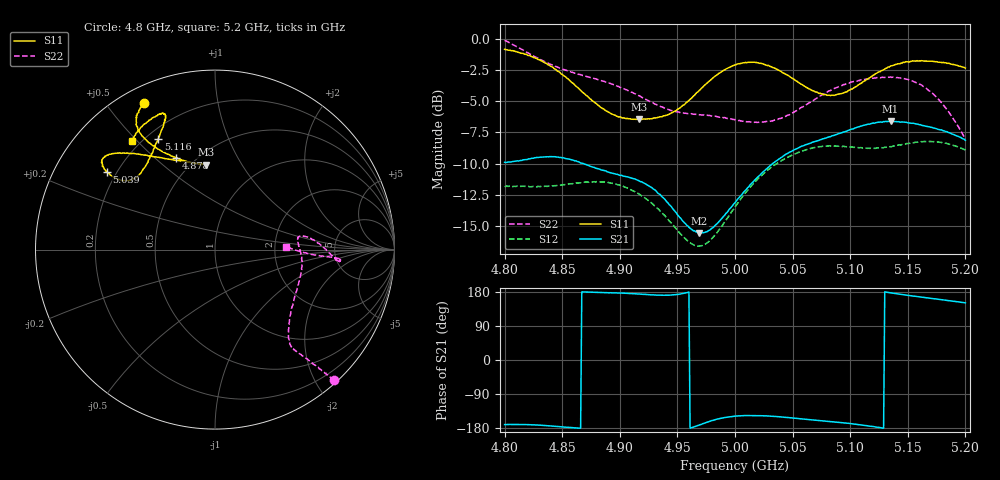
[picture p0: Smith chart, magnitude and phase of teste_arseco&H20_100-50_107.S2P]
! Network Analyzer HP8722D
! Hewlett-Packard
! Data name: Linha & Wilkinson
! Saver's name: Rodrigo Anjos
! Comments: Teste da utilização de aquisição
! continua pelo VNA HP8722D
! Time and date: 6/5/2025 13:27
!  Frequency  S11  S21  S12  S22
# HZ  S  MA R 50
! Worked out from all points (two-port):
!   401 points, 4.8 GHz to 5.2 GHz, reference 50 ohm
!   highest |S21| = -6.60 dB at 5.135 GHz (marker M1); lowest = -15.5 dB at 4.969 GHz (marker M2)
!   |S21| within 3 dB of the highest: 4.822 GHz to 4.854 GHz (31.63 MHz wide, 0.654 % of centre); 5.039 GHz to end of sweep
!   lowest |S11| = -6.5 dB at 4.917 GHz (marker M3), VSWR 2.81, Z = 29.1 + j35.6 ohm
!   |S11| at or under -10 dB: nowhere
!   |S22| runs from -8.0 to -0.1 dB; largest |S21 - S12| = 0.83
!   S11 on the Smith chart (normalised r, x): 4.8 GHz: 0.07, +0.62; 4.878 GHz: 0.40, +0.59; 5.039 GHz: 0.16, +0.31; 5.116 GHz: 0.25, +0.59; 5.2 GHz: 0.17, +0.48
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4.8e9  0.9061 115.9  0.3204 -170.4  0.2569 -86.2  0.9835 -47.6
4.832e9  0.8152 122.4  0.3359 -172.3  0.256 -77.6  0.8215 -49.5
4.846e9  0.7409 122.5  0.3362 -175.4  0.2589 -73.0  0.7684 -50.5
4.867e9  0.6143 117.9  0.3179 179.8  0.2655 -67.4  0.7154 -51.5
4.878e9  0.557 112.9  0.3054 178.5  0.2679 -66.1  0.6927 -51.9
4.899e9  0.4863 101.7  0.2853 176.6  0.2605 -66.7  0.6434 -50.3
4.917e9  0.4751 96.2  0.2697 174.2  0.2388 -68.5  0.5912 -45.8
4.934e9  0.4854 99.2  0.2394 171.0  0.2073 -69.5  0.5384 -37.6
4.947e9  0.5115 107.1  0.2062 171.9  0.1781 -67.0  0.5136 -28.9
4.969e9  0.6209 123.5  0.1671 -171.4  0.148 -48.0  0.4965 -15.1
4.981e9  0.6977 129.9  0.1757 -159.3  0.1605 -34.0  0.4903 -8.7
5e9  0.7848 137.1  0.2209 -148.3  0.2126 -21.5  0.4737 -0.4
5.018e9  0.8029 141.7  0.2744 -146.6  0.2695 -18.3  0.4638 5.8
5.039e9  0.7425 144.3  0.3318 -150.0  0.3223 -18.4  0.4794 8.9
5.067e9  0.6204 141.8  0.3851 -158.0  0.3656 -20.6  0.562 4.7
5.087e9  0.5953 133.6  0.4124 -163.8  0.3725 -23.7  0.6348 -1.4
5.116e9  0.6942 117.0  0.4554 -174.2  0.3646 -26.9  0.6912 -5.3
5.134e9  0.7706 111.0  0.4664 177.9  0.3694 -28.8  0.7009 -4.8
5.135e9  0.7772 111.2  0.4677 177.4  0.3702 -28.8  0.7025 -4.8
5.164e9  0.8133 113.2  0.4485 165.1  0.3879 -36.0  0.6428 -3.7
5.181e9  0.8031 119.4  0.4282 158.5  0.3831 -41.4  0.5418 -2.9
5.2e9  0.7628 127.3  0.392 150.9  0.3588 -46.4  0.3969 2.4
